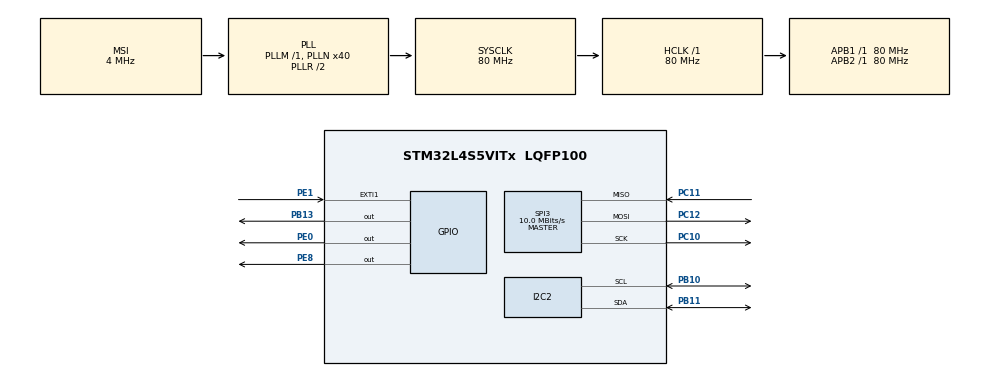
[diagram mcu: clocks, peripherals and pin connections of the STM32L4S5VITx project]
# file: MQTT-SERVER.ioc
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I2C2.Timing=0x10D19CE4
Mcu.Family=STM32L4
Mcu.Name=STM32L4S5VITx
Mcu.Package=LQFP100
NVIC.EXTI1_IRQn=true\:0\:0\:false\:false\:true\:true\:true\:true
NVIC.PriorityGroup=NVIC_PRIORITYGROUP_4
NVIC.SPI3_IRQn=true\:0\:0\:false\:false\:true\:true\:true\:true
PB10.Mode=I2C
PB10.Signal=I2C2_SCL
PB11.Mode=I2C
PB11.Signal=I2C2_SDA
PB13.Signal=GPIO_Output
PC10.Mode=Full_Duplex_Master
PC10.Signal=SPI3_SCK
PC11.Mode=Full_Duplex_Master
PC11.Signal=SPI3_MISO
PC12.Mode=Full_Duplex_Master
PC12.Signal=SPI3_MOSI
PE0.Signal=GPIO_Output
PE1.Signal=GPXTI1
PE8.Signal=GPIO_Output
ProjectManager.HeapSize=0x200
ProjectManager.StackSize=0x400
ProjectManager.TargetToolchain=STM32CubeIDE
RCC.ADCFreq_Value=48000000
RCC.AHBFreq_Value=80000000
RCC.APB1Freq_Value=80000000
RCC.APB1TimFreq_Value=80000000
RCC.APB2Freq_Value=80000000
RCC.APB2TimFreq_Value=80000000
RCC.CortexFreq_Value=80000000
RCC.HCLKFreq_Value=80000000
RCC.HSE_VALUE=8000000
RCC.HSI48_VALUE=48000000
RCC.HSI_VALUE=16000000
RCC.LSE_VALUE=32768
RCC.MSI_VALUE=4000000
RCC.PLLN=40
RCC.PLLSAI1N=24
RCC.SYSCLKFreq_VALUE=80000000
RCC.SYSCLKSource=RCC_SYSCLKSOURCE_PLLCLK
RCC.USBFreq_Value=48000000
RCC.VCOOutputFreq_Value=160000000
SPI3.BaudRatePrescaler=SPI_BAUDRATEPRESCALER_8
SPI3.CalculateBaudRate=10.0 MBits/s
SPI3.DataSize=SPI_DATASIZE_16BIT
SPI3.Direction=SPI_DIRECTION_2LINES
SPI3.Mode=SPI_MODE_MASTER
SPI3.VirtualType=VM_MASTER
board=B-L4S5I-IOT01A

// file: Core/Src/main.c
/* USER CODE BEGIN Header */
/**
  ******************************************************************************
  * @file           : main.c
  * @brief          : Main program body
  ******************************************************************************
  * @attention
  *
  * Copyright (c) 2026 STMicroelectronics.
  * All rights reserved.
  *
  * This software is licensed under terms that can be found in the LICENSE file
  * in the root directory of this software component.
  * If no LICENSE file comes with this software, it is provided AS-IS.
  *
  ******************************************************************************
  */
/* USER CODE END Header */
#include "main.h"

/* USER CODE BEGIN Includes */
#include "es_wifi.h"
#include "es_wifi_io.h"
#include <string.h>
#include <stdint.h>
#include "HTS221.h"
/* USER CODE END Includes */

I2C_HandleTypeDef hi2c2;

SPI_HandleTypeDef hspi3;

/* USER CODE BEGIN PV */
#define MQTT_HOST       "*****-cluster-fe8e3dac.a03.euc1.aws.hivemq.cloud"
#define MQTT_PORT       8883

#define MQTT_USERNAME   "Karthi*******"
#define MQTT_PASSWORD   "Karthi******"

#define MQTT_CLIENT_ID  "STM32L4S5_01"

#define MQTT_TOPIC      "stm32/sensor"
#define WIFI_SSID       "Galaxy"
#define WIFI_PASSWORD   "1234567890"
ES_WIFI_Status_t status;
ES_WIFIObject_t WiFiObj;
/* USER CODE END PV */

void SystemClock_Config(void);
static void MX_GPIO_Init(void);
static void MX_SPI3_Init(void);
static void MX_I2C2_Init(void);
/* USER CODE BEGIN PFP */
float H0_RH;
float H1_RH;

float T0_degC;
float T1_degC;

int16_t H0_T0_OUT;
int16_t H1_T0_OUT;

int16_t T0_OUT;
int16_t T1_OUT;
uint8_t ctrl = 0x85;
int16_t raw_humidity;
int16_t raw_temperature;
char json_payload[128];
float humidity;
float temperature;
static void PrintNetworkSettings(void)
{
    printf("\r\n");
    printf("========================================\r\n");
    printf("        NETWORK SETTINGS\r\n");
    printf("========================================\r\n");

    printf("IP Address : %d.%d.%d.%d\r\n",
           WiFiObj.NetSettings.IP_Addr[0],
           WiFiObj.NetSettings.IP_Addr[1],
           WiFiObj.NetSettings.IP_Addr[2],
           WiFiObj.NetSettings.IP_Addr[3]);

    printf("Subnet Mask: %d.%d.%d.%d\r\n",
           WiFiObj.NetSettings.IP_Mask[0],
           WiFiObj.NetSettings.IP_Mask[1],
           WiFiObj.NetSettings.IP_Mask[2],
           WiFiObj.NetSettings.IP_Mask[3]);

    printf("Gateway    : %d.%d.%d.%d\r\n",
           WiFiObj.NetSettings.Gateway_Addr[0],
           WiFiObj.NetSettings.Gateway_Addr[1],
           WiFiObj.NetSettings.Gateway_Addr[2],
           WiFiObj.NetSettings.Gateway_Addr[3]);

    printf("DNS1       : %d.%d.%d.%d\r\n",
           WiFiObj.NetSettings.DNS1[0],
           WiFiObj.NetSettings.DNS1[1],
           WiFiObj.NetSettings.DNS1[2],
           WiFiObj.NetSettings.DNS1[3]);

    printf("========================================\r\n");
}
static uint8_t MQTT_EncodeRemainingLength(uint32_t length,
                                           uint8_t *out)
{
    uint8_t i = 0;

    do
    {
        uint8_t digit = length % 128;

        length /= 128;

        if (length > 0)
        {
            digit |= 0x80;
        }

        out[i++] = digit;

    } while (length > 0);

    return i;
}

static uint16_t MQTT_BuildConnect(
        uint8_t *buf,
        const char *client_id,
        const char *username,
        const char *password)
{
    uint16_t i = 0;

    uint16_t client_len =
        strlen(client_id);

    uint16_t username_len =
        strlen(username);

    uint16_t password_len =
        strlen(password);

    /*
     * MQTT CONNECT variable header:
     *
     * Protocol Name       = 6 bytes
     * Protocol Level      = 1 byte
     * Connect Flags       = 1 byte
     * Keep Alive          = 2 bytes
     *
     * Total = 10 bytes
     */

    uint32_t remaining_length =
        10
        + 2 + client_len
        + 2 + username_len
        + 2 + password_len;

    uint8_t encoded_length[4];

    uint8_t encoded_len_bytes =
        MQTT_EncodeRemainingLength(
            remaining_length,
            encoded_length);

    /* Fixed header */

    buf[i++] = 0x10;

    /* Remaining Length */

    memcpy(&buf[i],
           encoded_length,
           encoded_len_bytes);

    i += encoded_len_bytes;

    /* Protocol Name = MQTT */

    buf[i++] = 0x00;
    buf[i++] = 0x04;

    buf[i++] = 'M';
    buf[i++] = 'Q';
    buf[i++] = 'T';
    buf[i++] = 'T';

    /* MQTT 3.1.1 */

    buf[i++] = 0x04;

    /*
     * Connect Flags
     *
     * Bit 7 = Username = 1
     * Bit 6 = Password = 1
     * Bit 1 = Clean Session = 1
     */

    buf[i++] = 0xC2;

    /* Keep Alive = 60 seconds */

    buf[i++] = 0x00;
    buf[i++] = 0x3C;

    /* Client ID */

    buf[i++] =
        (client_len >> 8) & 0xFF;

    buf[i++] =
        client_len & 0xFF;

    memcpy(&buf[i],
           client_id,
           client_len);

    i += client_len;

    /* Username */

    buf[i++] =
        (username_len >> 8) & 0xFF;

    buf[i++] =
        username_len & 0xFF;

    memcpy(&buf[i],
           username,
           username_len);

    i += username_len;

    /* Password */

    buf[i++] =
        (password_len >> 8) & 0xFF;

    buf[i++] =
        password_len & 0xFF;

    memcpy(&buf[i],
           password,
           password_len);

    i += password_len;

    return i;
}

int __io_putchar(int ch)
{
    ITM_SendChar(ch);
    return ch;
}

static uint16_t MQTT_BuildPublishQos0(uint8_t *buf,
                                      const char *topic,
                                      const uint8_t *payload,
                                      uint16_t payload_len)
{
    uint16_t i = 0;

    uint16_t topic_len = strlen(topic);

    uint32_t remaining_length =
            2 + topic_len + payload_len;

    uint8_t encoded_length[4];

    uint8_t encoded_len_bytes;

    /* Encode MQTT Remaining Length */

    encoded_len_bytes =
        MQTT_EncodeRemainingLength(
            remaining_length,
            encoded_length);

    /* Fixed header */

    buf[i++] = 0x30;

    /* Remaining Length */

    memcpy(&buf[i],
           encoded_length,
           encoded_len_bytes);

    i += encoded_len_bytes;

    /* Topic length */

    buf[i++] = (topic_len >> 8) & 0xFF;
    buf[i++] = topic_len & 0xFF;

    /* Topic */

    memcpy(&buf[i],
           topic,
           topic_len);

    i += topic_len;

    /* Payload */

    memcpy(&buf[i],
           payload,
           payload_len);

    i += payload_len;

    return i;
}

/* USER CODE END PFP */

int main(void)
{

  /* MCU Configuration--------------------------------------------------------*/

  /* Reset of all peripherals, Initializes the Flash interface and the Systick. */
  HAL_Init();

  /* Configure the system clock */
  SystemClock_Config();

  /* Initialize all configured peripherals */
  MX_GPIO_Init();
  MX_SPI3_Init();
  MX_I2C2_Init();
  /* USER CODE BEGIN 2 */

  HAL_I2C_Mem_Write(&hi2c2,
                     HTS221_ADDR,
                     CTRL_REG1,
                     I2C_MEMADD_SIZE_8BIT,
                     &ctrl,
                     1,
                     HAL_MAX_DELAY);
   HTS221_ReadCalibration();
  printf("\r\n");

        /* =========================================================
           STEP 1
           Register low-level SPI/GPIO interface
           ========================================================= */

        ES_WIFI_Status_t status;

        status = ES_WIFI_RegisterBusIO(
                    &WiFiObj,
                    SPI_WIFI_Init,
                    SPI_WIFI_DeInit,
                    SPI_WIFI_Delay,
                    SPI_WIFI_SendData,
                    SPI_WIFI_ReceiveData
                 );

        if (status != ES_WIFI_STATUS_OK)
        {
            printf("ERROR: ES_WIFI_RegisterBusIO failed\r\n");

            while (1)
            {
            }
        }

        printf("Bus interface registered\r\n");

        /* =========================================================
           STEP 2
           Initialize ISM43362
           ========================================================= */

        status = ES_WIFI_Init(&WiFiObj);

        if (status != ES_WIFI_STATUS_OK)
        {
            printf("ERROR: ES_WIFI_Init failed\r\n");

            while (1)
            {
            }
        }

        printf("ES_WIFI_Init SUCCESS\r\n");

        /* =========================================================
           STEP 3
           Scan Wi-Fi networks
           ========================================================= */

        ES_WIFI_APs_t APs;

        memset(&APs, 0, sizeof(APs));

        printf("\r\nScanning Wi-Fi networks...\r\n");

        status = ES_WIFI_ListAccessPoints(
                    &WiFiObj,
                    &APs
                 );

        if (status != ES_WIFI_STATUS_OK)
        {
            printf("ERROR: Wi-Fi scan failed\r\n");

            while (1)
            {
            }
        }

        /* =========================================================
           STEP 4
           Print discovered APs
           ========================================================= */

        printf("\r\nWi-Fi scan SUCCESS\r\n");

        printf("APs found: %d\r\n\r\n", APs.nbr);

        for (uint8_t i = 0; i < APs.nbr; i++)
        {
            printf(
                "[%d] SSID: %s\r\n",
                i + 1,
                APs.AP[i].SSID
            );

            printf(
                "    RSSI: %d dBm\r\n",
                APs.AP[i].RSSI
            );

            printf(
                "    Channel: %d\r\n",
                APs.AP[i].Channel
            );

            printf(
                "    Security: %d\r\n",
                APs.AP[i].Security
            );

            printf("\r\n");
        }

        printf("\r\nConnecting to: %s\r\n", WIFI_SSID);

            status = ES_WIFI_Connect(
                        &WiFiObj,
                        WIFI_SSID,
                        WIFI_PASSWORD,
                        ES_WIFI_SEC_WPA2
                     );

            if (status != ES_WIFI_STATUS_OK)
            {
                printf("Wi-Fi CONNECTION FAILED\r\n");

                while (1);
            }

            printf("Wi-Fi CONNECT command SUCCESS\r\n");

            /* =====================================================
               5. Verify connection
               ===================================================== */

            if (ES_WIFI_IsConnected(&WiFiObj))
            {
                printf("Wi-Fi CONNECTED!\r\n");
            }
            else
            {
                printf("Wi-Fi NOT CONNECTED\r\n");

                while (1);
            }

            printf("\r\nGetting DHCP/network information...\r\n");

            status = ES_WIFI_GetNetworkSettings(&WiFiObj);

            if (status != ES_WIFI_STATUS_OK)
            {
                printf("ERROR: GetNetworkSettings failed\r\n");

                while (1);
            }

            printf("Network settings obtained\r\n");

            PrintNetworkSettings();

            /* ============================================
               VERIFY IP ADDRESS
               ============================================ */

            uint8_t ipaddr[4];

            status = ES_WIFI_GetIPAddress(
                        &WiFiObj,
                        ipaddr,
                        sizeof(ipaddr)
                     );

            if (status != ES_WIFI_STATUS_OK)
            {
                printf("ERROR: GetIPAddress failed\r\n");

                while (1);
            }

            printf("\r\nIP Address verification:\r\n");

            printf("%d.%d.%d.%d\r\n",
                   ipaddr[0],
                   ipaddr[1],
                   ipaddr[2],
                   ipaddr[3]);

            uint8_t broker_ip[4];

            status = ES_WIFI_DNS_LookUp(
                &WiFiObj,
                MQTT_HOST,
                broker_ip,
				sizeof(broker_ip)
            );

            if (status != ES_WIFI_STATUS_OK)
            {
                printf("DNS lookup failed\r\n");
                while (1)
                   {

                   }
            }

            printf("HiveMQ IP: %d.%d.%d.%d\r\n",
                   broker_ip[0],
                   broker_ip[1],
                   broker_ip[2],
                   broker_ip[3]);

            ES_WIFI_Conn_t mqtt_conn;

            memset(&mqtt_conn, 0, sizeof(mqtt_conn));

            mqtt_conn.Type = ES_WIFI_TCP_SSL_CONNECTION;

            mqtt_conn.Number = 0;

            mqtt_conn.RemotePort = 8883;

            mqtt_conn.LocalPort = 0;

            mqtt_conn.TLScheckMode =
                ES_WIFI_TLS_CHECK_NOTHING;

            mqtt_conn.RemoteIP[0] = broker_ip[0];
            mqtt_conn.RemoteIP[1] = broker_ip[1];
            mqtt_conn.RemoteIP[2] = broker_ip[2];
            mqtt_conn.RemoteIP[3] = broker_ip[3];

            mqtt_conn.TLScheckMode = ES_WIFI_TLS_CHECK_NOTHING;

            printf("Starting TLS connection to HiveMQ...\r\n");

            status = ES_WIFI_StartClientConnection(
                         &WiFiObj,
                         &mqtt_conn);

            if (status == ES_WIFI_STATUS_OK)
            {
                printf("TLS connection ESTABLISHED\r\n");
            }
            else
            {
                printf("TLS connection FAILED\r\n");
                printf("Status = %d\r\n", status);

                while (1)
                {
                    HAL_Delay(1000);
                }
            }

            uint8_t mqtt_packet[512];

            uint16_t packet_len;
            uint16_t sent_len;

            packet_len =
                MQTT_BuildConnect(
                    mqtt_packet,
                    MQTT_CLIENT_ID,
                    MQTT_USERNAME,
                    MQTT_PASSWORD);

            status =
                ES_WIFI_SendData(
                    &WiFiObj,
                    mqtt_conn.Number,
                    mqtt_packet,
                    packet_len,
                    &sent_len,
                    5000);

            if (status == ES_WIFI_STATUS_OK)
            {
                printf("MQTT CONNECT sent\r\n");
            }
            else
            {
                printf("MQTT CONNECT failed\r\n");
            }

            /* ------------------------------------------------------------
             * 4. Wait for server response
             * ------------------------------------------------------------ */

            /* ------------------------------------------------------------
             * 5. Print result
             * ------------------------------------------------------------ */

            printf("\r\n========== SERVER RESPONSE ==========\r\n");

            uint8_t connack[4];

            uint16_t received_len = 0;

            status =
                ES_WIFI_ReceiveData(
                    &WiFiObj,
                    mqtt_conn.Number,
                    connack,
                    sizeof(connack),
                    &received_len,
                    5000);

            if (status == ES_WIFI_STATUS_OK)
            {
                printf("CONNACK RX: ");

                for (uint16_t i = 0;
                     i < received_len;
                     i++)
                {
                    printf("%02X ", connack[i]);
                }

                printf("\r\n");
            }

            char topic[] = "stm32/sensor";
            char payload[100];

  /* USER CODE END 2 */

  /* Infinite loop */
  while (1)
  {

    /* USER CODE BEGIN 3 */
	  HTS221_ReadRaw(&raw_humidity,
		                    &raw_temperature);

		     humidity =
		         HTS221_GetHumidity(raw_humidity);

		     temperature =
		         HTS221_GetTemperature(raw_temperature);

		     snprintf(payload,
		                        sizeof(payload),
		                        "{\"temperature\":%.2f,\"humidity\":%.2f}",
		                        temperature,
		                        humidity);

		     packet_len =
		         MQTT_BuildPublishQos0(
		             mqtt_packet,
		             topic,
		             (const uint8_t *)payload,
		             strlen(payload));

		     status =
		         ES_WIFI_SendData(
		             &WiFiObj,
		             mqtt_conn.Number,
		             mqtt_packet,
		             packet_len,
		             &sent_len,
		             5000);

	    HAL_Delay(1000);
  }
  /* USER CODE END 3 */
}

void SystemClock_Config(void)
{
  RCC_OscInitTypeDef RCC_OscInitStruct = {0};
  RCC_ClkInitTypeDef RCC_ClkInitStruct = {0};

  /** Configure the main internal regulator output voltage
  */
  if (HAL_PWREx_ControlVoltageScaling(PWR_REGULATOR_VOLTAGE_SCALE1) != HAL_OK)
  {
    Error_Handler();
  }

  /** Initializes the RCC Oscillators according to the specified parameters
  * in the RCC_OscInitTypeDef structure.
  */
  RCC_OscInitStruct.OscillatorType = RCC_OSCILLATORTYPE_MSI;
  RCC_OscInitStruct.MSIState = RCC_MSI_ON;
  RCC_OscInitStruct.MSICalibrationValue = 0;
  RCC_OscInitStruct.MSIClockRange = RCC_MSIRANGE_6;
  RCC_OscInitStruct.PLL.PLLState = RCC_PLL_ON;
  RCC_OscInitStruct.PLL.PLLSource = RCC_PLLSOURCE_MSI;
  RCC_OscInitStruct.PLL.PLLM = 1;
  RCC_OscInitStruct.PLL.PLLN = 40;
  RCC_OscInitStruct.PLL.PLLP = RCC_PLLP_DIV2;
  RCC_OscInitStruct.PLL.PLLQ = RCC_PLLQ_DIV2;
  RCC_OscInitStruct.PLL.PLLR = RCC_PLLR_DIV2;
  if (HAL_RCC_OscConfig(&RCC_OscInitStruct) != HAL_OK)
  {
    Error_Handler();
  }

  /** Initializes the CPU, AHB and APB buses clocks
  */
  RCC_ClkInitStruct.ClockType = RCC_CLOCKTYPE_HCLK|RCC_CLOCKTYPE_SYSCLK
                              |RCC_CLOCKTYPE_PCLK1|RCC_CLOCKTYPE_PCLK2;
  RCC_ClkInitStruct.SYSCLKSource = RCC_SYSCLKSOURCE_PLLCLK;
  RCC_ClkInitStruct.AHBCLKDivider = RCC_SYSCLK_DIV1;
  RCC_ClkInitStruct.APB1CLKDivider = RCC_HCLK_DIV1;
  RCC_ClkInitStruct.APB2CLKDivider = RCC_HCLK_DIV1;

  if (HAL_RCC_ClockConfig(&RCC_ClkInitStruct, FLASH_LATENCY_3) != HAL_OK)
  {
    Error_Handler();
  }
}

static void MX_I2C2_Init(void)
{

  hi2c2.Instance = I2C2;
  hi2c2.Init.Timing = 0x10D19CE4;
  hi2c2.Init.OwnAddress1 = 0;
  hi2c2.Init.AddressingMode = I2C_ADDRESSINGMODE_7BIT;
  hi2c2.Init.DualAddressMode = I2C_DUALADDRESS_DISABLE;
  hi2c2.Init.OwnAddress2 = 0;
  hi2c2.Init.OwnAddress2Masks = I2C_OA2_NOMASK;
  hi2c2.Init.GeneralCallMode = I2C_GENERALCALL_DISABLE;
  hi2c2.Init.NoStretchMode = I2C_NOSTRETCH_DISABLE;
  if (HAL_I2C_Init(&hi2c2) != HAL_OK)
  {
    Error_Handler();
  }

  /** Configure Analogue filter
  */
  if (HAL_I2CEx_ConfigAnalogFilter(&hi2c2, I2C_ANALOGFILTER_ENABLE) != HAL_OK)
  {
    Error_Handler();
  }

  /** Configure Digital filter
  */
  if (HAL_I2CEx_ConfigDigitalFilter(&hi2c2, 0) != HAL_OK)
  {
    Error_Handler();
  }

}

static void MX_SPI3_Init(void)
{

  /* SPI3 parameter configuration*/
  hspi3.Instance = SPI3;
  hspi3.Init.Mode = SPI_MODE_MASTER;
  hspi3.Init.Direction = SPI_DIRECTION_2LINES;
  hspi3.Init.DataSize = SPI_DATASIZE_16BIT;
  hspi3.Init.CLKPolarity = SPI_POLARITY_LOW;
  hspi3.Init.CLKPhase = SPI_PHASE_1EDGE;
  hspi3.Init.NSS = SPI_NSS_SOFT;
  hspi3.Init.BaudRatePrescaler = SPI_BAUDRATEPRESCALER_8;
  hspi3.Init.FirstBit = SPI_FIRSTBIT_MSB;
  hspi3.Init.TIMode = SPI_TIMODE_DISABLE;
  hspi3.Init.CRCCalculation = SPI_CRCCALCULATION_DISABLE;
  hspi3.Init.CRCPolynomial = 7;
  hspi3.Init.CRCLength = SPI_CRC_LENGTH_DATASIZE;
  hspi3.Init.NSSPMode = SPI_NSS_PULSE_ENABLE;
  if (HAL_SPI_Init(&hspi3) != HAL_OK)
  {
    Error_Handler();
  }

}

static void MX_GPIO_Init(void)
{
  GPIO_InitTypeDef GPIO_InitStruct = {0};

  /* GPIO Ports Clock Enable */
  __HAL_RCC_GPIOE_CLK_ENABLE();
  __HAL_RCC_GPIOB_CLK_ENABLE();
  __HAL_RCC_GPIOC_CLK_ENABLE();

  /*Configure GPIO pin Output Level */
  HAL_GPIO_WritePin(GPIOE, GPIO_PIN_8|GPIO_PIN_0, GPIO_PIN_RESET);

  /*Configure GPIO pin Output Level */
  HAL_GPIO_WritePin(GPIOB, GPIO_PIN_13, GPIO_PIN_RESET);

  /*Configure GPIO pins : PE8 PE0 */
  GPIO_InitStruct.Pin = GPIO_PIN_8|GPIO_PIN_0;
  GPIO_InitStruct.Mode = GPIO_MODE_OUTPUT_PP;
  GPIO_InitStruct.Pull = GPIO_NOPULL;
  GPIO_InitStruct.Speed = GPIO_SPEED_FREQ_LOW;
  HAL_GPIO_Init(GPIOE, &GPIO_InitStruct);

  /*Configure GPIO pin : PB13 */
  GPIO_InitStruct.Pin = GPIO_PIN_13;
  GPIO_InitStruct.Mode = GPIO_MODE_OUTPUT_PP;
  GPIO_InitStruct.Pull = GPIO_NOPULL;
  GPIO_InitStruct.Speed = GPIO_SPEED_FREQ_LOW;
  HAL_GPIO_Init(GPIOB, &GPIO_InitStruct);

  /*Configure GPIO pin : PE1 */
  GPIO_InitStruct.Pin = GPIO_PIN_1;
  GPIO_InitStruct.Mode = GPIO_MODE_IT_RISING;
  GPIO_InitStruct.Pull = GPIO_NOPULL;
  HAL_GPIO_Init(GPIOE, &GPIO_InitStruct);

  /* EXTI interrupt init*/
  HAL_NVIC_SetPriority(EXTI1_IRQn, 0, 0);
  HAL_NVIC_EnableIRQ(EXTI1_IRQn);

}

void Error_Handler(void)
{
  __disable_irq();
  while (1)
  {
  }
}
